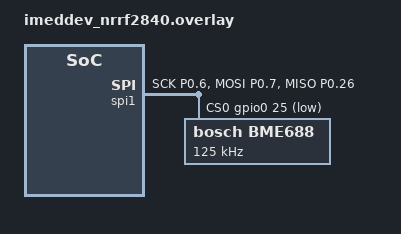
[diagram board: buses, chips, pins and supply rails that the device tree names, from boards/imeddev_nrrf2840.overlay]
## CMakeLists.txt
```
# SPDX-License-Identifier: Apache-2.0

cmake_minimum_required(VERSION 3.20.0)

find_package(Zephyr REQUIRED HINTS $ENV{ZEPHYR_BASE})
project(FirstBleProject)

target_sources(app PRIVATE src/main.c)

# Custom files and folders

target_sources(app PRIVATE
    src/remote_service/remote.c
    src/vl53l1/vl53l1.c
	src/adxl345/accel0.c
)

zephyr_library_include_directories(src/remote_service)
zephyr_library_include_directories(src/vl53l1)
zephyr_library_include_directories(src/adxl345)
```

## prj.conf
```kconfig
# nothing here
# Enable DK LED and Buttons library

# Configure logger
CONFIG_LOG=y
CONFIG_USE_SEGGER_RTT=y
CONFIG_RTT_CONSOLE=y
CONFIG_LOG_BACKEND_RTT=y

# Configure Bluetooth
CONFIG_BT=y
CONFIG_BT_PERIPHERAL=y
CONFIG_BT_DEVICE_NAME="MYSENSOR"
CONFIG_BT_DEVICE_APPEARANCE=0
CONFIG_BT_MAX_CONN=1
#CONFIG_BT_LL_SOFTDEVICE=y
#change 60 with the number of seconds you want to use. The range is 1 to 180 seconds). 
#If something longer than 180 seconds is needed, you should remove the BT_LE_AD_LIMITED, and start a timer to stop the advertisements manually. 
CONFIG_BT_LIM_ADV_TIMEOUT=10 

CONFIG_ASSERT=y

# Add the Security manager Protocol to the Bluetooth LE stack
# This is the layer that makes it possible to pair devices over Bluetooth LE.
CONFIG_BT_SMP=y

# Add bonding support to the application
# Make sure the Bluetooth stack takes care of storing (and restoring) the pairing keys.
#CONFIG_SETTINGS=y
#CONFIG_BT_SETTINGS=y
#CONFIG_FLASH=y
#CONFIG_FLASH_PAGE_LAYOUT=y
#CONFIG_FLASH_MAP=y
#CONFIG_NVS=y

#Enable I2C Driver
CONFIG_I2C=y

CONFIG_NEWLIB_LIBC=y
CONFIG_SENSOR=y
#Enable driver for VL53L1X
CONFIG_VL53L1X=y
#Enable driver for ADXL345
CONFIG_ADXL345=y


#Enable floating point write
CONFIG_CBPRINTF_FP_SUPPORT=y

# Enable Zephyr application to be booted by MCUboot
CONFIG_BOOTLOADER_MCUBOOT=y
#CONFIG_BOOT_SIGNATURE_TYPE_ECDSA_P256=y
CONFIG_MCUBOOT_IMGTOOL_SIGN_VERSION="0.1.2+3"
```

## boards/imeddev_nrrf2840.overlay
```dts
&i2c0 {	status = "disabled";};
&spi0 {	status = "disabled";};
&i2c1 {	status = "disabled";};
	
&spi1 {
    compatible = "nordic,nrf-spim";
	status = "okay";
	pinctrl-0 = <&spi1_default>;
	pinctrl-1 = <&spi1_sleep>;
	pinctrl-names = "default", "sleep";
	cs-gpios = <&gpio0 25 GPIO_ACTIVE_LOW>;
	bme688: bme688@0 {
		compatible = "bosch,bme688";
		reg = <0>;
		spi-max-frequency = <125000>;
	};
};

&pinctrl {
	spi1_default: spi1_default {
		group1 {
				psels = <NRF_PSEL(SPIM_SCK, 0, 6)>,
						<NRF_PSEL(SPIM_MOSI, 0, 7)>,
						<NRF_PSEL(SPIM_MISO, 0, 26)>;
		};
	};

	spi1_sleep: spi1_sleep {
		group1 {
				psels = <NRF_PSEL(SPIM_SCK, 0, 6)>,
						<NRF_PSEL(SPIM_MOSI, 0, 7)>,
						<NRF_PSEL(SPIM_MISO, 0, 26)>;
				low-power-enable;
		};
	};
};
```

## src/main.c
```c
/*
 * Copyright (c) 2012-2014 Wind River Systems, Inc.
 *
 * SPDX-License-Identifier: Apache-2.0
 */

#include <zephyr/types.h>
#include <zephyr/logging/log.h>
// GPIO driver header
#include <zephyr/drivers/gpio.h>
// sensor driver
#include <zephyr/drivers/sensor.h>
#include "remote.h"
// Bonding headers
//#include <zephyr/settings/settings.h>

//  Logging module registration
#define LOG_MODULE_NAME app
LOG_MODULE_REGISTER(LOG_MODULE_NAME);

// Get led0 debugging led 
#define DEBUG_LED DT_NODELABEL(led0)
/*Get the device structure from the node label (custom pressure sensor driver) */
const struct device * dev = DEVICE_DT_GET(DT_NODELABEL(bme688));
static const struct gpio_dt_spec debugLed = GPIO_DT_SPEC_GET(DEBUG_LED, gpios);


static void update_timer_handler(struct k_timer *timer_id);

K_TIMER_DEFINE(update_timer, update_timer_handler, NULL);


static struct bt_conn *current_conn;
static bool isNotifEnabled = false;

/* Declarations */
void on_connected(struct bt_conn *conn, uint8_t err);
void on_disconnected(struct bt_conn *conn, uint8_t reason);
void on_notif_changed(enum bt_button_notifications_enabled status);
void on_data_received(struct bt_conn *conn, const uint8_t *const data, uint16_t len);

static void on_security_changed(struct bt_conn *conn, bt_security_t level,enum bt_security_err err);
static void auth_passkey_display(struct bt_conn *conn, unsigned int passkey);
static void auth_cancel(struct bt_conn *conn);

struct bt_conn_cb bluetooth_callbacks = {
	.connected 		= on_connected,
	.disconnected 	= on_disconnected,
	.security_changed = on_security_changed,
};
static struct bt_conn_auth_cb conn_auth_callbacks = {
	.passkey_display = auth_passkey_display,
	.cancel = auth_cancel,
};
struct bt_remote_service_cb remote_callbacks = {
	.notif_changed = on_notif_changed,
    .data_received = on_data_received,
};



/*Security  Callbacks */

static void on_security_changed(struct bt_conn *conn, bt_security_t level,enum bt_security_err err)
{
	char addr[BT_ADDR_LE_STR_LEN];

	bt_addr_le_to_str(bt_conn_get_dst(conn), addr, sizeof(addr));

	if (!err) {
		LOG_INF("Security changed: %s level %u\n", addr, level);
	} else {
		LOG_INF("Security failed: %s level %u err %d\n", addr, level,
			err);
	}
}
 // Autentication callback to pass to security level 3 or 4
static void auth_passkey_display(struct bt_conn *conn, unsigned int passkey)
{
	char addr[BT_ADDR_LE_STR_LEN];
	bt_addr_le_to_str(bt_conn_get_dst(conn), addr, sizeof(addr));
	LOG_INF("Passkey for %s: %06u\n", addr, passkey);
}

// This will let us know when the pairing has been cancelled.
static void auth_cancel(struct bt_conn *conn)
{
	char addr[BT_ADDR_LE_STR_LEN];
	bt_addr_le_to_str(bt_conn_get_dst(conn), addr, sizeof(addr));
	LOG_INF("Pairing cancelled: %s\n", addr);
}


void on_connected(struct bt_conn *conn, uint8_t err)
{
	if(err) {
		LOG_ERR("connection err: %d", err);
		return;
	}
	LOG_INF("Connected.");
	current_conn = bt_conn_ref(conn);
}

void on_disconnected(struct bt_conn *conn, uint8_t reason)
{
	LOG_INF("Disconnected (reason: %d)", reason);
	if(current_conn) {
		bt_conn_unref(current_conn);
		current_conn = NULL;
	}
}

void on_notif_changed(enum bt_button_notifications_enabled status)
{
	if (status == BT_BUTTON_NOTIFICATIONS_ENABLED) {
		isNotifEnabled = true;
		//LOG_INF("Notifications enabled");
	}
	else {
		isNotifEnabled = false;
		//LOG_INF("Notificatons disabled");
	}
}

void on_data_received(struct bt_conn *conn, const uint8_t *const data, uint16_t len)
{
	uint8_t temp_str[len+1];
	memcpy(temp_str, data, len);
	temp_str[len] = 0x00;

	//LOG_INF("Received data on conn %p. Len: %d", (void *)conn, len);
	//LOG_INF("Data: %s", log_strdup(temp_str));
	LOG_INF("Data: %s", (char*)temp_str);

}

void simulate_sensor(void){
	static uint16_t sensor_value = 0;
	sensor_value++;
	if(sensor_value == 1000){
	  sensor_value = 0;	
	}
	  int err = 0;

		set_sensor(sensor_value);
		if(isNotifEnabled) {
		err = send_button_notification(current_conn, sensor_value, sizeof(sensor_value));
		}
		if (err) {
			LOG_ERR("couldn't send notification (err: %d)", err);
		}
}

static void update_timer_handler(struct k_timer *timer_id)
{
    //LOG_INF("Timer expired in handler");
	simulate_sensor();
}


/* main */
void main(void)
{
	struct sensor_value temp_val, press_val, hum_val;
	int err, ret;
    printk("Starting Bluetooth Peripheral LBS example\n");
	LOG_INF("Hello World! %s\n", CONFIG_BOARD);

	if (!device_is_ready(debugLed.port)) {
	  return -1;
	}
	
	ret = gpio_pin_configure_dt(&debugLed, GPIO_OUTPUT_ACTIVE);
	if (ret < 0) {
		return -1;
	}
   // Active the debug led
   // gpio_pin_set_dt(&debugLed,1);
   	err = device_is_ready(dev);
	if (err) {
		LOG_INF("Error: SPI device is not ready, err: %d", err);
		return 0;
	}

#ifdef LOW_LEVEL_I2C // LOW level I2C transaction
   uint8_t reading[3] = {0} ;
   uint8_t sensor_regs[2] ={0x01,0x0F}; // register number
   err = i2c_write_read_dt(&dev_i2c,&sensor_regs[0],2,&reading[0],3);
   	if (err) {
		LOG_ERR("Error I2C Comm %d", err);
	}
#endif

#ifdef BLE_BONDING
	settings_load(); //After resetting the peripheral, so that previous bonds can be restored.
	bt_unpair(); //should be called to erase all bonded devices
#endif
	// Enable bluetooth communication
    err = bluetooth_init(&bluetooth_callbacks, &remote_callbacks);
    if (err) {
        LOG_ERR("bt_enable returned %d", err);
    }
    // Register the authentication callbacks
	// Authentication for MITM attack protection
	err = bt_conn_auth_cb_register(&conn_auth_callbacks);
    if (err) {
	LOG_INF("Failed to register authorization callbacks.\n");
	return; 
    }
	LOG_INF("Running...");
	// Start sensor simulator timer
	k_timer_start(&update_timer, K_SECONDS(1),K_SECONDS(1));
	getAcc0Data();
	for (;;) {
		LOG_INF("Hello, I am main\n");
		/* Continuously read out sensor data using the sensor API calls */
		err = sensor_sample_fetch(dev);
		if (err < 0) {
			LOG_ERR("Could not fetch sample (%d)", err);
			return 0;
		}

		if (sensor_channel_get(dev, SENSOR_CHAN_AMBIENT_TEMP, &temp_val)) {
			LOG_ERR("Could not get sample");
			return 0;
		}
		
		if (sensor_channel_get(dev, SENSOR_CHAN_PRESS, &press_val)) {
			LOG_ERR("Could not get sample");
			return 0;
		}
	
		if (sensor_channel_get(dev, SENSOR_CHAN_HUMIDITY, &hum_val)) {
			LOG_ERR("Could not get sample");
			return 0;
		}

		LOG_INF("Compensated temperature value: %d", temp_val.val1);
		LOG_INF("Compensated pressure value: %d", press_val.val1);
		LOG_INF("Compensated humidity value: %d", hum_val.val1);
	}
}
```
